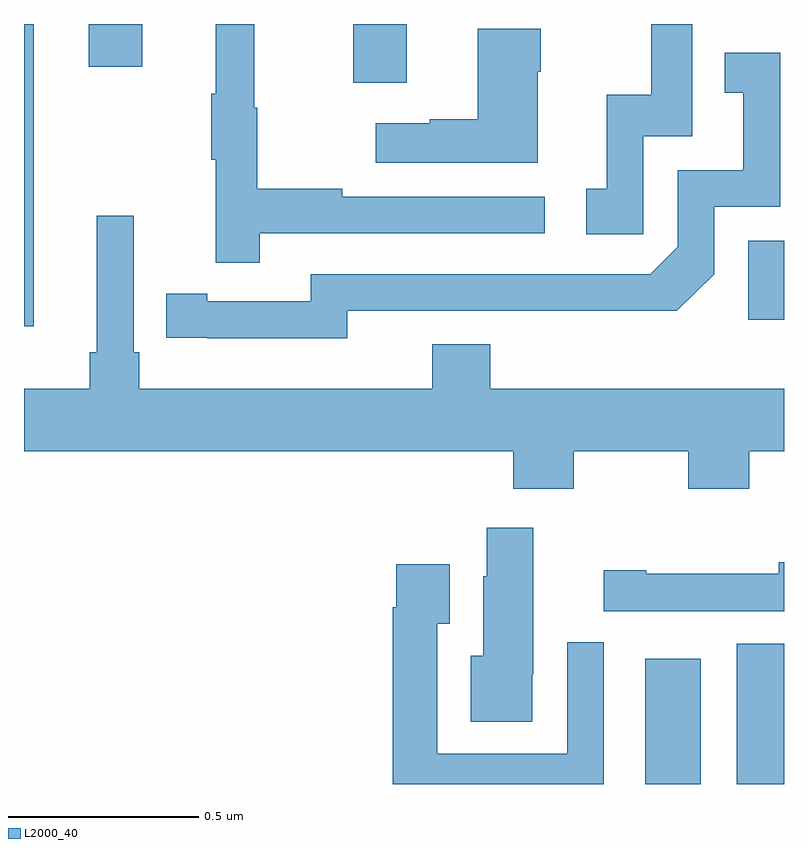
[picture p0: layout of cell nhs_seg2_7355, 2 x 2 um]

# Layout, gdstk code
import gdstk
lib = gdstk.Library(unit=1e-6, precision=1e-09)
def R(c, l, rs):  # rectangles x0, y0, x1, y1
    for r in rs: c.add(gdstk.rectangle(r[:2], r[2:], *l))
def P(c, l, *ps):  # polygons
    for p in ps: c.add(gdstk.Polygon(p, *l))
L2000_40 = (2000, 40)

nhs_seg2_7355 = lib.new_cell('nhs_seg2_7355')
R(nhs_seg2_7355, L2000_40, [(204.635,606.8,204.781,607.129), (204.875,606.8,205,607.169), (203,608.004,203.026,608.8), (204.906,608.022,205,608.229), (203.867,608.646,204.007,608.8), (203.171,608.688,203.311,608.8)])
P(nhs_seg2_7355, L2000_40, [(203.621,608.25),(204.37,608.25),(204.37,608.346),(203.837,608.346),(203.837,608.366),(203.614,608.366),(203.614,608.58),(203.606,608.58),(203.606,608.8),(203.504,608.8),(203.504,608.617),(203.493,608.617),(203.493,608.443),(203.504,608.443),(203.504,608.172),(203.621,608.172)],
  [(204.63,608.505),(204.759,608.505),(204.759,608.8),(204.651,608.8),(204.651,608.614),(204.533,608.614),(204.533,608.367),(204.48,608.367),(204.48,608.247),(204.63,608.247)],
  [(204.352,608.675),(204.36,608.675),(204.36,608.788),(204.194,608.788),(204.194,608.549),(204.068,608.549),(204.068,608.539),(203.925,608.539),(203.925,608.435),(204.352,608.435)],
  [(203.85,608.046),(204.31,608.046),(204.31,608.045),(204.718,608.045),(204.816,608.142),(204.816,608.319),(204.99,608.319),(204.99,608.725),(204.844,608.725),(204.844,608.619),(204.893,608.619),(204.893,608.415),(204.72,608.415),(204.72,608.214),(204.648,608.142),(203.754,608.142),(203.754,608.07),(203.482,608.07),(203.482,608.09),(203.374,608.09),(203.374,607.974),(203.482,607.974),(203.482,607.973),(203.85,607.973)],
  [(204.447,607.676),(204.748,607.676),(204.748,607.577),(204.908,607.577),(204.908,607.676),(205,607.676),(205,607.84),(204.227,607.84),(204.227,607.957),(204.074,607.957),(204.074,607.84),(203.303,607.84),(203.303,607.936),(203.289,607.936),(203.289,608.296),(203.192,608.296),(203.192,607.936),(203.173,607.936),(203.173,607.84),(203,607.84),(203,607.676),(204.287,607.676),(204.287,607.577),(204.447,607.577)],
  [(204.337,607.089),(204.34,607.089),(204.34,607.474),(204.218,607.474),(204.218,607.347),(204.209,607.347),(204.209,607.138),(204.176,607.138),(204.176,606.964),(204.337,606.964)],
  [(205,607.383),(204.986,607.383),(204.986,607.353),(204.637,607.353),(204.637,607.363),(204.525,607.363),(204.525,607.254),(205,607.254)],
  [(204.525,607.173),(204.429,607.173),(204.429,606.879),(204.087,606.879),(204.087,607.222),(204.121,607.222),(204.121,607.378),(203.979,607.378),(203.979,607.265),(203.971,607.265),(203.971,606.8),(204.525,606.8)])

lib.write_gds('nhs_seg2_7355.gds')
